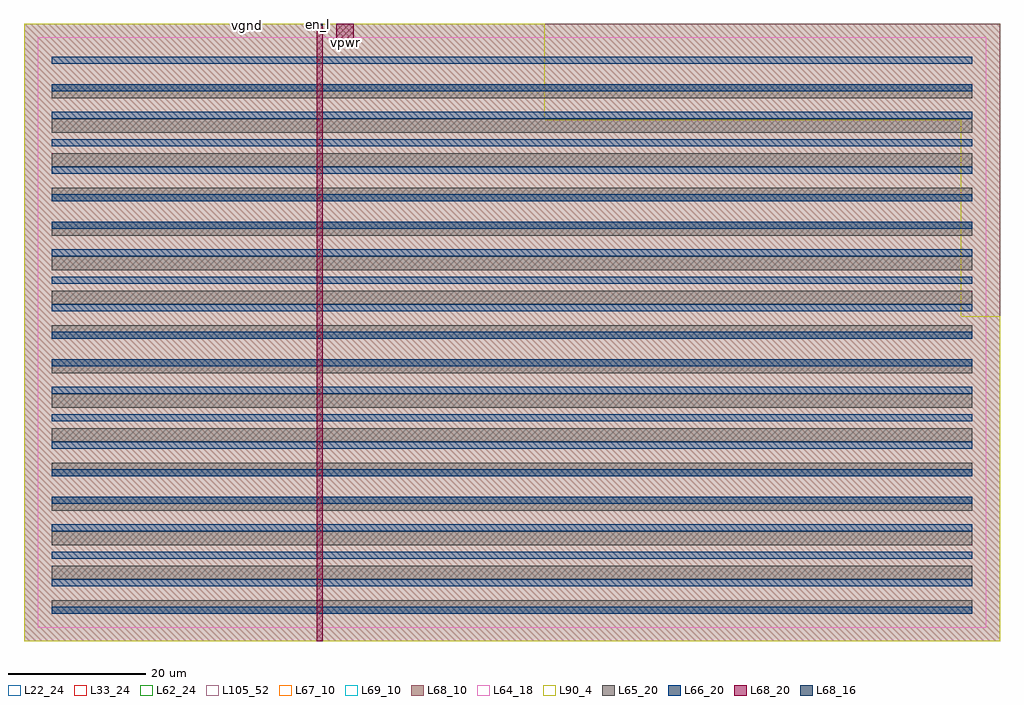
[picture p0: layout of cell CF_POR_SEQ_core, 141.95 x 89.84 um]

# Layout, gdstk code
import gdstk
lib = gdstk.Library(unit=1e-6, precision=1e-09)
def R(c, l, rs):  # rectangles x0, y0, x1, y1
    for r in rs: c.add(gdstk.rectangle(r[:2], r[2:], *l))
def A(c, l, x, y, w, h, nx, ny, dx, dy):  # array of equal rectangles
    R(c, l, [(x+i*dx, y+j*dy, x+i*dx+w, y+j*dy+h) for i in range(nx) for j in range(ny)])
def P(c, l, *ps):  # polygons
    for p in ps: c.add(gdstk.Polygon(p, *l))
L22_24 = (22, 24)
L33_24 = (33, 24)
L62_24 = (62, 24)
L64_18 = (64, 18)
L65_20 = (65, 20)
L66_20 = (66, 20)
L67_10 = (67, 10)
L68_10 = (68, 10)
L68_16 = (68, 16)
L68_20 = (68, 20)
L69_10 = (69, 10)
L90_4 = (90, 4)
L105_52 = (105, 52)

cf_por_seq_core = lib.new_cell('CF_POR_SEQ_core')
R(cf_por_seq_core, L22_24, [(0,0,141.95,89.835)])
R(cf_por_seq_core, L33_24, [(0,0,141.95,89.835)])
R(cf_por_seq_core, L62_24, [(0,0,141.95,89.835)])
R(cf_por_seq_core, L64_18, [(2,2,139.95,87.835)])
A(cf_por_seq_core, L65_20, 4, 4, 133.95, 2, 1, 16, 0, 5)
A(cf_por_seq_core, L66_20, 4, 4, 133.95, 1, 1, 21, 0, 4)
R(cf_por_seq_core, L67_10, [(0,0,141.95,89.835)])
R(cf_por_seq_core, L68_10, [(0,0,31.335,89.835), (31.335,0,33.75,89.17), (33.75,0,42.61,89.835), (42.61,0,42.89,89.64), (42.89,0,43.165,89.835), (43.165,0,43.44,89.645), (43.44,0,45.45,89.835), (45.45,0,47.96,86.75), (47.96,0,141.95,89.835), (45.45,87.31,47.96,89.835), (42.61,89.82,42.89,89.835), (31.335,89.825,33.75,89.835), (43.165,89.825,43.44,89.835)])
R(cf_por_seq_core, L68_16, [(45.45,86.75,47.96,87.31), (31.335,89.17,33.75,89.825), (43.165,89.53,43.44,89.835), (42.61,89.535,42.89,89.835)])
R(cf_por_seq_core, L68_20, [(42.61,0,42.89,89.64), (42.89,0,43.165,89.835), (43.165,0,43.44,89.645), (45.45,86.75,47.96,87.31), (45.45,87.31,47.96,89.835), (31.335,89.17,33.75,89.825), (42.61,89.525,42.89,89.825), (43.165,89.525,43.44,89.83), (43.165,89.53,43.44,89.835), (42.61,89.535,42.89,89.835), (31.335,89.695,33.75,89.835)])
R(cf_por_seq_core, L69_10, [(0,0,141.95,89.835)])
P(cf_por_seq_core, L90_4, [(0,0),(0,89.835),(75.735,89.835),(75.735,75.85),(136.305,75.85),(136.305,47.305),(141.95,47.305),(141.95,0)])
R(cf_por_seq_core, L105_52, [(0,0,141.95,89.835)])
cf_por_seq_core.add(gdstk.Label('en_l', (42.75,89.73), layer=68, texttype=5))
cf_por_seq_core.add(gdstk.Label('por_l', (43.303,89.735), layer=68, texttype=5))
cf_por_seq_core.add(gdstk.Label('vgnd', (32.543,89.498), layer=68, texttype=5))
cf_por_seq_core.add(gdstk.Label('vpwr', (46.705,87.03), layer=68, texttype=5))

lib.write_gds('CF_POR_SEQ_core.gds')
